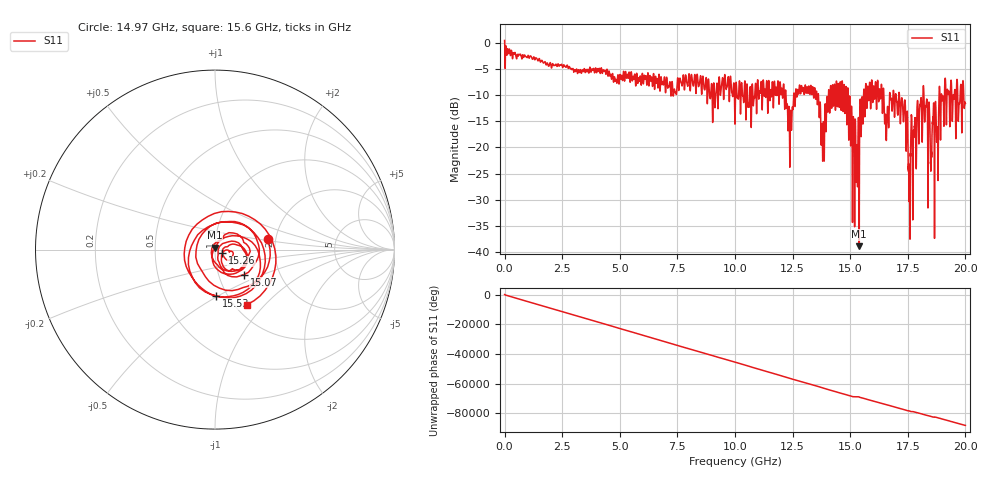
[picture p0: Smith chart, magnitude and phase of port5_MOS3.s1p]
! MS46122B
! 2250307/22442219
! 7/24/2025 7:40:41 AM
! C:\USERS\SPARKY\DOCUMENTS\VNA_DATA\JULY24_2025\3K\PORT5_MOS3.S1P
! CHANNEL.1
! TR.MEASUREMENT
! RAW.DATA
# GHZ S RI R 50.0
! FREQ.GHZ  S11RE  S11IM
!; PortSelection: Port_1
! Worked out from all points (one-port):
!   10001 points, 1 MHz to 20 GHz, reference 50 ohm
!   lowest |S11| = -38.9 dB at 15.39 GHz (marker M1), VSWR 1.02, Z = 49.8 + j1.13 ohm
!   |S11| at or under -10 dB: 14.91 GHz to 15.58 GHz (669.3 MHz wide, 4.39 % of centre); 17.14 GHz to 18.16 GHz (1.02 GHz wide, 5.78 % of centre); 18.2 GHz to 18.85 GHz (654.7 MHz wide, 3.53 % of centre) (the widest 3 of 77)
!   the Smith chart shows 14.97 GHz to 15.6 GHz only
!   S11 on the Smith chart (normalised r, x): 14.97 GHz: 1.81, +0.23; 15.07 GHz: 1.32, -0.39; 15.26 GHz: 1.09, -0.05; 15.53 GHz: 0.89, -0.49; 15.6 GHz: 1.14, -0.80
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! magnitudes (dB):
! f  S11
! 1 MHz  0.4
! 2.501 GHz  -4.5
! 5.001 GHz  -6.2
! 7.501 GHz  -7.1
! 10 GHz  -15.5
! 12.03 GHz  -8.7
! 12.37 GHz  -20.4
! 12.5 GHz  -12.4
! 13.38 GHz  -8.4
! 13.81 GHz  -22.6
! 14.23 GHz  -8.1
! 14.97 GHz  -10.5
! 15 GHz  -12.6
! 15.07 GHz  -13.4
! 15.26 GHz  -26.6
! 15.39 GHz  -38.9
! 15.53 GHz  -11.7
! 15.6 GHz  -9.0
! 16.27 GHz  -8.9
! 16.58 GHz  -16.5
! 16.8 GHz  -11.3
! 17.3 GHz  -14.7
! 17.5 GHz  -17.0
! 17.63 GHz  -17.9
! 18.11 GHz  -15.8
! 18.57 GHz  -15.2
! 19.05 GHz  -11.8
! 20 GHz  -11.6
